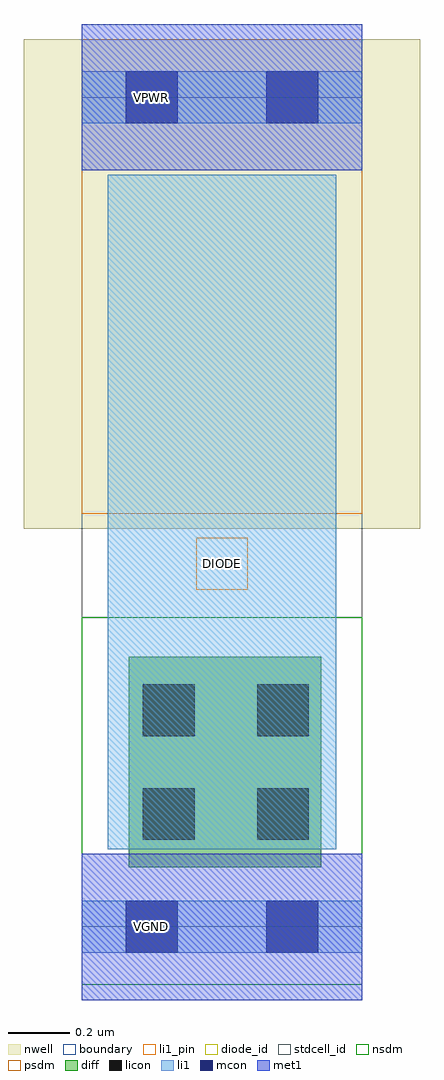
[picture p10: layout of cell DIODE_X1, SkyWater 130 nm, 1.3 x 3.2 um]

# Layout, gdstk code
import gdstk
lib = gdstk.Library(unit=1e-6, precision=1e-09)
def R(c, l, rs):  # rectangles x0, y0, x1, y1
    for r in rs: c.add(gdstk.rectangle(r[:2], r[2:], *l))
nwell = (64, 20)
diff = (65, 20)
licon = (66, 44)
li1_pin = (67, 16)
li1 = (67, 20)
mcon = (67, 44)
met1 = (68, 20)
stdcell_id = (81, 4)
diode_id = (81, 23)
nsdm = (93, 44)
psdm = (94, 20)
boundary = (235, 4)

diode_x1 = lib.new_cell('DIODE_X1')
R(diode_x1, nwell, [(-0.19,1.305,1.11,2.91)])
R(diode_x1, diff, [(0.155,0.195,0.785,0.885)])
R(diode_x1, licon, [(0.2,0.285,0.37,0.455), (0.575,0.285,0.745,0.455), (0.2,0.625,0.37,0.795), (0.575,0.625,0.745,0.795)])
R(diode_x1, li1_pin, [(0.375,1.105,0.545,1.275)])
R(diode_x1, li1, [(0,-0.085,0.92,0.085), (0.085,0.255,0.835,2.465), (0,2.635,0.92,2.805)])
R(diode_x1, mcon, [(0.145,-0.085,0.315,0.085), (0.605,-0.085,0.775,0.085), (0.145,2.635,0.315,2.805), (0.605,2.635,0.775,2.805)])
R(diode_x1, met1, [(0,-0.24,0.92,0.24), (0,2.48,0.92,2.96)])
R(diode_x1, stdcell_id, [(0,0,0.92,2.72)])
R(diode_x1, diode_id, [(0.155,0.195,0.785,0.885)])
R(diode_x1, nsdm, [(0,-0.19,0.92,1.015)])
R(diode_x1, psdm, [(0,1.355,0.92,2.91)])
R(diode_x1, boundary, [(0,0,0.92,2.72)])
diode_x1.add(gdstk.Label('VPWR', (0.23,2.72), layer=68, texttype=5))
diode_x1.add(gdstk.Label('VGND', (0.23,0), layer=68, texttype=5))
diode_x1.add(gdstk.Label('DIODE', (0.46,1.19), layer=67, texttype=5))

lib.write_gds('DIODE_X1.gds')
